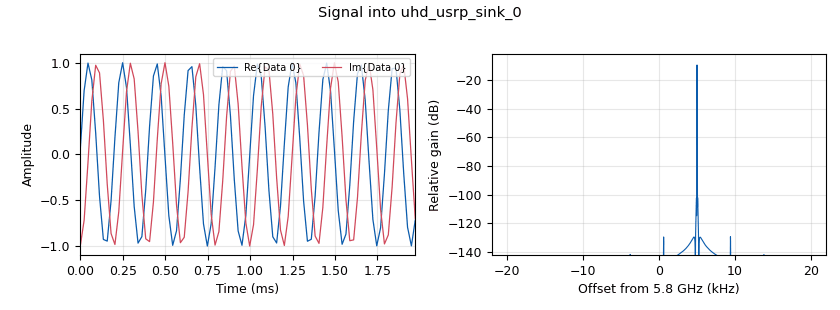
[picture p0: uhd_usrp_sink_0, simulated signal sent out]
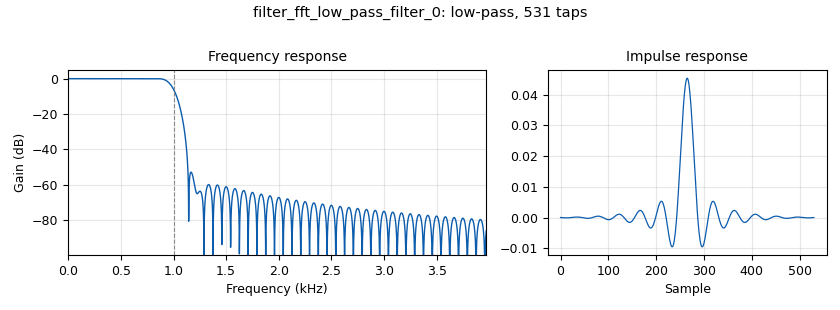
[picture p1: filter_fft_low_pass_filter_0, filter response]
options:
  parameters:
    generate_options: qt_gui
    id: SWLowIFCW
    output_language: python
    title: Not titled yet
  states: {}

blocks:
- name: TX_GAIN
  id: variable_qtgui_range
  parameters:
    start: '40'
    step: '5'
    stop: '90'
    value: '80'
  states: {}
- name: fc
  id: variable
  parameters:
    value: 5.8e9
  states: {}
- name: samp_rate
  id: variable
  parameters:
    value: '44100'
  states: {}
- name: analog_sig_source_x_0
  id: analog_sig_source_x
  parameters:
    amp: '1'
    freq: '5000'
    offset: '0'
    phase: '0'
    samp_rate: samp_rate
    type: complex
    waveform: analog.GR_COS_WAVE
  states: {}
- name: blocks_complex_to_float_0
  id: blocks_complex_to_float
  parameters: {}
  states: {}
- name: blocks_multiply_xx_0
  id: blocks_multiply_xx
  parameters:
    type: complex
  states: {}
- name: blocks_wavfile_sink_0
  id: blocks_wavfile_sink
  parameters:
    bits_per_sample1: FORMAT_PCM_16
    file: C:\Users\panet\Desktop\RADAR PROJECT\REVIEW 5\REVIEW 5\Audios\RealPartCWIF.wav
    format: FORMAT_WAV
    samp_rate: '44100'
  states: {}
- name: blocks_wavfile_sink_1
  id: blocks_wavfile_sink
  parameters:
    bits_per_sample1: FORMAT_PCM_16
    file: C:\Users\panet\Desktop\RADAR PROJECT\REVIEW 5\REVIEW 5\Audios\ImaginaryPartCWIF.wav
    format: FORMAT_WAV
    samp_rate: '44100'
  states: {}
- name: dc_blocker_xx_0_1
  id: dc_blocker_xx
  parameters:
    length: '32'
    long_form: 'True'
    type: cc
  states: {}
- name: dc_blocker_xx_0_1_0
  id: dc_blocker_xx
  parameters:
    length: '32'
    long_form: 'True'
    type: cc
  states: {}
- name: filter_fft_low_pass_filter_0
  id: filter_fft_low_pass_filter
  parameters:
    cutoff_freq: '1000'
    decim: '1'
    gain: '1'
    samp_rate: samp_rate
    type: ccc
    width: '200'
    win: window.WIN_HAMMING
  states: {}
- name: qtgui_waterfall_sink_x_1
  id: qtgui_waterfall_sink_x
  parameters:
    bw: samp_rate
    fc: '0'
    fftsize: '1024'
    type: float
  states: {}
- name: uhd_usrp_sink_0
  id: uhd_usrp_sink
  parameters:
    ant0: '"TX/RX"'
    center_freq0: '5800000000'
    gain0: TX_GAIN
    samp_rate: samp_rate
    sync: sync
    type: fc32
  states: {}
- name: uhd_usrp_source_0
  id: uhd_usrp_source
  parameters:
    ant0: '"RX2"'
    center_freq0: '5800000000'
    gain0: '40'
    samp_rate: samp_rate
    sync: sync
    type: fc32
  states: {}

connections:
- [analog_sig_source_x_0, '0', dc_blocker_xx_0_1, '0']
- [analog_sig_source_x_0, '0', uhd_usrp_sink_0, '0']
- [blocks_complex_to_float_0, '0', blocks_wavfile_sink_0, '0']
- [blocks_complex_to_float_0, '0', qtgui_waterfall_sink_x_1, '0']
- [blocks_complex_to_float_0, '1', blocks_wavfile_sink_1, '0']
- [blocks_multiply_xx_0, '0', filter_fft_low_pass_filter_0, '0']
- [dc_blocker_xx_0_1, '0', blocks_multiply_xx_0, '1']
- [dc_blocker_xx_0_1_0, '0', blocks_multiply_xx_0, '0']
- [filter_fft_low_pass_filter_0, '0', blocks_complex_to_float_0, '0']
- [uhd_usrp_source_0, '0', dc_blocker_xx_0_1_0, '0']

metadata:
  file_format: 1
  grc_version: 3.10.6.0
